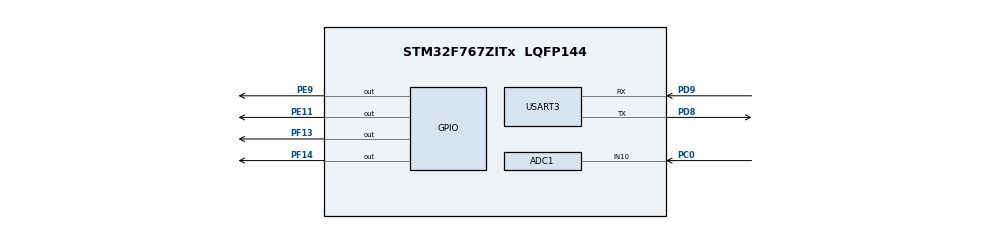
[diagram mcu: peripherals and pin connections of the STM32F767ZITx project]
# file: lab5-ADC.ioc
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ADC1.Channel-0\#ChannelRegularConversion=ADC_CHANNEL_10
ADC1.ContinuousConvMode=ENABLE
ADC1.EOCSelection=ADC_EOC_SEQ_CONV
ADC1.NbrOfConversionFlag=1
ADC1.Rank-0\#ChannelRegularConversion=1
ADC1.SamplingTime-0\#ChannelRegularConversion=ADC_SAMPLETIME_3CYCLES
ADC1.master=1
CORTEX_M7.default_mode_Activation=1
Mcu.Family=STM32F7
Mcu.Name=STM32F767ZITx
Mcu.Package=LQFP144
NVIC.PriorityGroup=NVIC_PRIORITYGROUP_4
PC0.Signal=ADCx_IN10
PD8.Mode=Asynchronous
PD8.Signal=USART3_TX
PD9.Mode=Asynchronous
PD9.Signal=USART3_RX
PE11.Signal=GPIO_Output
PE9.Signal=GPIO_Output
PF13.Signal=GPIO_Output
PF14.Signal=GPIO_Output
ProjectManager.HeapSize=0x200
ProjectManager.StackSize=0x400
ProjectManager.TargetToolchain=STM32CubeIDE
RCC.HSE_VALUE=25000000
RCC.HSI_VALUE=16000000
RCC.LSE_VALUE=32768
RCC.USBFreq_Value=96000000
RCC.VCOOutputFreq_Value=192000000
SH.ADCx_IN10.0=ADC1_IN10,IN10
USART3.VirtualMode-Asynchronous=VM_ASYNC
board=custom

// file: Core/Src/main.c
/* USER CODE BEGIN Header */
/**
  ******************************************************************************
  * @file           : main.c
  * @brief          : Main program body
  ******************************************************************************
  * @attention
  *
  * Copyright (c) 2025 STMicroelectronics.
  * All rights reserved.
  *
  * This software is licensed under terms that can be found in the LICENSE file
  * in the root directory of this software component.
  * If no LICENSE file comes with this software, it is provided AS-IS.
  *
  ******************************************************************************
  */
/* USER CODE END Header */
#include "main.h"

ADC_HandleTypeDef hadc1;

UART_HandleTypeDef huart3;

void SystemClock_Config(void);
static void MPU_Config(void);
static void MX_GPIO_Init(void);
static void MX_ADC1_Init(void);
static void MX_USART3_UART_Init(void);

/* USER CODE BEGIN 0 */

typedef struct {
    GPIO_TypeDef *port;
    uint16_t pin;
} LedPin;

LedPin leds[4] = {
    {GPIOF, GPIO_PIN_13},
    {GPIOE, GPIO_PIN_9},
    {GPIOE, GPIO_PIN_11},
    {GPIOF, GPIO_PIN_14}   // example if GPIOP exists
};

uint32_t adc_avg_8;
uint32_t adc_avg_16;

/* USER CODE END 0 */

int main(void)
{

  /* MPU Configuration--------------------------------------------------------*/
  MPU_Config();

  /* MCU Configuration--------------------------------------------------------*/

  /* Reset of all peripherals, Initializes the Flash interface and the Systick. */
  HAL_Init();

  /* Configure the system clock */
  SystemClock_Config();

  /* Initialize all configured peripherals */
  MX_GPIO_Init();
  MX_ADC1_Init();
  MX_USART3_UART_Init();

  /* Infinite loop */
  /* USER CODE BEGIN WHILE */
  volatile uint32_t adc_val = 0;
  HAL_ADC_Start(&hadc1);

  while (1)
  {
    /* USER CODE END WHILE */

    /* USER CODE BEGIN 3 */
	  while( HAL_ADC_PollForConversion(&hadc1, 100) != HAL_OK){}
	  uint32_t adc_value = HAL_ADC_GetValue(&hadc1);
	  displayHEX(adc_value);
	  HAL_Delay(400);
  }
  /* USER CODE END 3 */
}

void SystemClock_Config(void)
{
  RCC_OscInitTypeDef RCC_OscInitStruct = {0};
  RCC_ClkInitTypeDef RCC_ClkInitStruct = {0};

  /** Configure the main internal regulator output voltage
  */
  __HAL_RCC_PWR_CLK_ENABLE();
  __HAL_PWR_VOLTAGESCALING_CONFIG(PWR_REGULATOR_VOLTAGE_SCALE3);

  /** Initializes the RCC Oscillators according to the specified parameters
  * in the RCC_OscInitTypeDef structure.
  */
  RCC_OscInitStruct.OscillatorType = RCC_OSCILLATORTYPE_HSI;
  RCC_OscInitStruct.HSIState = RCC_HSI_ON;
  RCC_OscInitStruct.HSICalibrationValue = RCC_HSICALIBRATION_DEFAULT;
  RCC_OscInitStruct.PLL.PLLState = RCC_PLL_NONE;
  if (HAL_RCC_OscConfig(&RCC_OscInitStruct) != HAL_OK)
  {
    Error_Handler();
  }

  /** Initializes the CPU, AHB and APB buses clocks
  */
  RCC_ClkInitStruct.ClockType = RCC_CLOCKTYPE_HCLK|RCC_CLOCKTYPE_SYSCLK
                              |RCC_CLOCKTYPE_PCLK1|RCC_CLOCKTYPE_PCLK2;
  RCC_ClkInitStruct.SYSCLKSource = RCC_SYSCLKSOURCE_HSI;
  RCC_ClkInitStruct.AHBCLKDivider = RCC_SYSCLK_DIV1;
  RCC_ClkInitStruct.APB1CLKDivider = RCC_HCLK_DIV1;
  RCC_ClkInitStruct.APB2CLKDivider = RCC_HCLK_DIV1;

  if (HAL_RCC_ClockConfig(&RCC_ClkInitStruct, FLASH_LATENCY_0) != HAL_OK)
  {
    Error_Handler();
  }
}

static void MX_ADC1_Init(void)
{

  ADC_ChannelConfTypeDef sConfig = {0};

  /** Configure the global features of the ADC (Clock, Resolution, Data Alignment and number of conversion)
  */
  hadc1.Instance = ADC1;
  hadc1.Init.ClockPrescaler = ADC_CLOCK_SYNC_PCLK_DIV2;
  hadc1.Init.Resolution = ADC_RESOLUTION_12B;
  hadc1.Init.ScanConvMode = ADC_SCAN_DISABLE;
  hadc1.Init.ContinuousConvMode = DISABLE;
  hadc1.Init.DiscontinuousConvMode = DISABLE;
  hadc1.Init.ExternalTrigConvEdge = ADC_EXTERNALTRIGCONVEDGE_NONE;
  hadc1.Init.ExternalTrigConv = ADC_SOFTWARE_START;
  hadc1.Init.DataAlign = ADC_DATAALIGN_RIGHT;
  hadc1.Init.NbrOfConversion = 1;
  hadc1.Init.DMAContinuousRequests = DISABLE;
  hadc1.Init.EOCSelection = ADC_EOC_SINGLE_CONV;
  if (HAL_ADC_Init(&hadc1) != HAL_OK)
  {
    Error_Handler();
  }

  /** Configure for the selected ADC regular channel its corresponding rank in the sequencer and its sample time.
  */
  sConfig.Channel = ADC_CHANNEL_10;
  sConfig.Rank = ADC_REGULAR_RANK_1;
  sConfig.SamplingTime = ADC_SAMPLETIME_3CYCLES;
  if (HAL_ADC_ConfigChannel(&hadc1, &sConfig) != HAL_OK)
  {
    Error_Handler();
  }

}

static void MX_USART3_UART_Init(void)
{

  huart3.Instance = USART3;
  huart3.Init.BaudRate = 115200;
  huart3.Init.WordLength = UART_WORDLENGTH_8B;
  huart3.Init.StopBits = UART_STOPBITS_1;
  huart3.Init.Parity = UART_PARITY_NONE;
  huart3.Init.Mode = UART_MODE_TX_RX;
  huart3.Init.HwFlowCtl = UART_HWCONTROL_NONE;
  huart3.Init.OverSampling = UART_OVERSAMPLING_16;
  huart3.Init.OneBitSampling = UART_ONE_BIT_SAMPLE_DISABLE;
  huart3.AdvancedInit.AdvFeatureInit = UART_ADVFEATURE_NO_INIT;
  if (HAL_UART_Init(&huart3) != HAL_OK)
  {
    Error_Handler();
  }

}

static void MX_GPIO_Init(void)
{

  /* GPIO Ports Clock Enable */
  __HAL_RCC_GPIOC_CLK_ENABLE();
  __HAL_RCC_GPIOD_CLK_ENABLE();

}

/* USER CODE BEGIN 4 */
void displayADC(uint32_t adc_value)
{
    char buf[50];
    float Vref = 3.3f;            // Reference voltage (adjust if different)
    uint32_t resolution = 4095;   // 12-bit ADC: max value = 4095
    float Vin = ((float)adc_value / resolution) * Vref;
    sprintf(buf, "Vin = %.2f V", Vin);   // prints with 2 decimals
    HAL_UART_Transmit(&huart3, (uint8_t *)buf, strlen(buf), 100);
}

void displayLED(int level_input)
{
	int level = level_input;
    // turn OFF all LEDs first
    for (uint8_t j = 0; j < 4; j++)
    {
        HAL_GPIO_WritePin(leds[j].port, leds[j].pin, GPIO_PIN_RESET);
    }

    if (level == 0)
    {
        // No LED ON
    }
    else if (level == 1)
    {
        HAL_GPIO_WritePin(leds[0].port, leds[0].pin, GPIO_PIN_SET);
    }
    else if (level == 2)
    {
        HAL_GPIO_WritePin(leds[0].port, leds[0].pin, GPIO_PIN_SET);
        HAL_GPIO_WritePin(leds[1].port, leds[1].pin, GPIO_PIN_SET);
    }
    else if (level == 3)
    {
        HAL_GPIO_WritePin(leds[0].port, leds[0].pin, GPIO_PIN_SET);
        HAL_GPIO_WritePin(leds[1].port, leds[1].pin, GPIO_PIN_SET);
        HAL_GPIO_WritePin(leds[2].port, leds[2].pin, GPIO_PIN_SET);
    }
    else if (level == 4)
    {
        HAL_GPIO_WritePin(leds[0].port, leds[0].pin, GPIO_PIN_SET);
        HAL_GPIO_WritePin(leds[1].port, leds[1].pin, GPIO_PIN_SET);
        HAL_GPIO_WritePin(leds[2].port, leds[2].pin, GPIO_PIN_SET);
        HAL_GPIO_WritePin(leds[3].port, leds[3].pin, GPIO_PIN_SET);
    }
    else
    {
    	HAL_GPIO_TogglePin(leds[2].port, leds[2].pin);
        // Out of range → turn everything OFF
    }

}

void displayHEX(uint32_t decimal_number)
{
    char buf[20];
    sprintf(buf, "ADC1_CH10 0x%08X  ", decimal_number);
    HAL_UART_Transmit(&huart3, (uint8_t *)buf, strlen(buf), 100);
//    HAL_UART_Transmit(&huart3, "  ", 2, 100);
    displayADC(decimal_number);
    HAL_UART_Transmit(&huart3, "\r\n", 2, 100);

    int level = getLevel(decimal_number);
    displayLED(level);

    adc_avg_8 = average_8(decimal_number);
    adc_avg_16 = average_16(decimal_number);
}

int average_8(int x) {
    static int samples[8];
    static int i = 0;
    static int total = 0;

    /* Update the moving average */
    total += x - samples[i];
    samples[i] = x;

    /* Update the index */
    i = (i == 7 ? 0 : i + 1);

    return total >> 3;   // divide by 8
}

int average_16(int x) {
    static int samples[16];
    static int i = 0;
    static int total = 0;

    /* Update the moving average */
    total += x - samples[i];
    samples[i] = x;

    /* Update the index */
    i = (i == 15 ? 0 : i + 1);

    return total >> 4;   // divide by 16
}

/* USER CODE END 4 */

 /* MPU Configuration */

void MPU_Config(void)
{
  MPU_Region_InitTypeDef MPU_InitStruct = {0};

  /* Disables the MPU */
  HAL_MPU_Disable();

  /** Initializes and configures the Region and the memory to be protected
  */
  MPU_InitStruct.Enable = MPU_REGION_ENABLE;
  MPU_InitStruct.Number = MPU_REGION_NUMBER0;
  MPU_InitStruct.BaseAddress = 0x0;
  MPU_InitStruct.Size = MPU_REGION_SIZE_4GB;
  MPU_InitStruct.SubRegionDisable = 0x87;
  MPU_InitStruct.TypeExtField = MPU_TEX_LEVEL0;
  MPU_InitStruct.AccessPermission = MPU_REGION_NO_ACCESS;
  MPU_InitStruct.DisableExec = MPU_INSTRUCTION_ACCESS_DISABLE;
  MPU_InitStruct.IsShareable = MPU_ACCESS_SHAREABLE;
  MPU_InitStruct.IsCacheable = MPU_ACCESS_NOT_CACHEABLE;
  MPU_InitStruct.IsBufferable = MPU_ACCESS_NOT_BUFFERABLE;

  HAL_MPU_ConfigRegion(&MPU_InitStruct);
  /* Enables the MPU */
  HAL_MPU_Enable(MPU_PRIVILEGED_DEFAULT);

}

void Error_Handler(void)
{
  __disable_irq();
  while (1)
  {
  }
}
